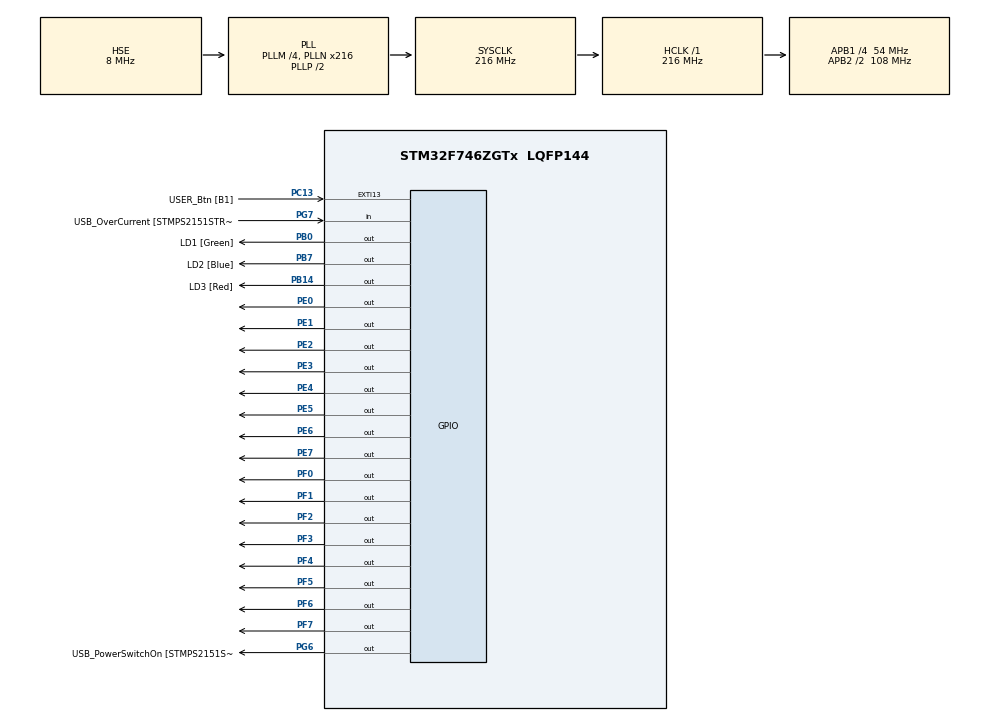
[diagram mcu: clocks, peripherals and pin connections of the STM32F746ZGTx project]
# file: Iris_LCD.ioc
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CORTEX_M7.CPU_DCache=Enabled
CORTEX_M7.CPU_ICache=Enabled
Mcu.Family=STM32F7
Mcu.Name=STM32F746ZGTx
Mcu.Package=LQFP144
NVIC.PriorityGroup=NVIC_PRIORITYGROUP_4
PA1.GPIO_Label=RMII_REF_CLK [LAN8742A-CZ-TR_REFCLK0]
PA1.Signal=ETH_REF_CLK
PA10.GPIO_Label=USB_ID
PA10.Signal=USB_OTG_FS_ID
PA11.GPIO_Label=USB_DM
PA11.Signal=USB_OTG_FS_DM
PA12.GPIO_Label=USB_DP
PA12.Signal=USB_OTG_FS_DP
PA13.GPIO_Label=TMS
PA13.Mode=Trace_Asynchronous_SW
PA13.Signal=SYS_JTMS-SWDIO
PA14.GPIO_Label=TCK
PA14.Mode=Trace_Asynchronous_SW
PA14.Signal=SYS_JTCK-SWCLK
PA2.GPIO_Label=RMII_MDIO [LAN8742A-CZ-TR_MDIO]
PA2.Signal=ETH_MDIO
PA7.GPIO_Label=RMII_CRS_DV [LAN8742A-CZ-TR_CRS_DV]
PA7.Signal=ETH_CRS_DV
PA8.GPIO_Label=USB_SOF [TP1]
PA8.Signal=USB_OTG_FS_SOF
PA9.GPIO_Label=USB_VBUS
PA9.Signal=USB_OTG_FS_VBUS
PB0.GPIO_Label=LD1 [Green]
PB0.Signal=GPIO_Output
PB13.GPIO_Label=RMII_TXD1 [LAN8742A-CZ-TR_TXD1]
PB13.Signal=ETH_TXD1
PB14.GPIO_Label=LD3 [Red]
PB14.Signal=GPIO_Output
PB3.GPIO_Label=SW0
PB3.Mode=Trace_Asynchronous_SW
PB3.Signal=SYS_JTDO-SWO
PB7.GPIO_Label=LD2 [Blue]
PB7.Signal=GPIO_Output
PC1.GPIO_Label=RMII_MDC [LAN8742A-CZ-TR_MDC]
PC1.Signal=ETH_MDC
PC13.GPIO_Label=USER_Btn [B1]
PC13.Signal=GPXTI13
PC14/OSC32_IN.Mode=LSE-External-Oscillator
PC14/OSC32_IN.Signal=RCC_OSC32_IN
PC15/OSC32_OUT.Mode=LSE-External-Oscillator
PC15/OSC32_OUT.Signal=RCC_OSC32_OUT
PC4.GPIO_Label=RMII_RXD0 [LAN8742A-CZ-TR_RXD0]
PC4.Signal=ETH_RXD0
PC5.GPIO_Label=RMII_RXD1 [LAN8742A-CZ-TR_RXD1]
PC5.Signal=ETH_RXD1
PD8.GPIO_Label=STLK_RX [STM32F103CBT6_PA3]
PD8.Signal=USART3_TX
PD9.GPIO_Label=STLK_TX [STM32F103CBT6_PA2]
PD9.Signal=USART3_RX
PE0.GPIO_Speed=GPIO_SPEED_FREQ_VERY_HIGH
PE0.Signal=GPIO_Output
PE1.GPIO_Speed=GPIO_SPEED_FREQ_VERY_HIGH
PE1.Signal=GPIO_Output
PE2.GPIO_Speed=GPIO_SPEED_FREQ_VERY_HIGH
PE2.Signal=GPIO_Output
PE3.GPIO_Speed=GPIO_SPEED_FREQ_VERY_HIGH
PE3.Signal=GPIO_Output
PE4.GPIO_Speed=GPIO_SPEED_FREQ_VERY_HIGH
PE4.Signal=GPIO_Output
PE5.GPIO_Speed=GPIO_SPEED_FREQ_VERY_HIGH
PE5.Signal=GPIO_Output
PE6.GPIO_Speed=GPIO_SPEED_FREQ_VERY_HIGH
PE6.Signal=GPIO_Output
PE7.GPIO_Speed=GPIO_SPEED_FREQ_VERY_HIGH
PE7.Signal=GPIO_Output
PF0.GPIO_Speed=GPIO_SPEED_FREQ_VERY_HIGH
PF0.Signal=GPIO_Output
PF1.GPIO_Speed=GPIO_SPEED_FREQ_VERY_HIGH
PF1.Signal=GPIO_Output
PF2.GPIO_Speed=GPIO_SPEED_FREQ_VERY_HIGH
PF2.Signal=GPIO_Output
PF3.GPIO_Speed=GPIO_SPEED_FREQ_VERY_HIGH
PF3.Signal=GPIO_Output
PF4.GPIO_Speed=GPIO_SPEED_FREQ_VERY_HIGH
PF4.Signal=GPIO_Output
PF5.GPIO_Speed=GPIO_SPEED_FREQ_VERY_HIGH
PF5.Signal=GPIO_Output
PF6.GPIO_Speed=GPIO_SPEED_FREQ_VERY_HIGH
PF6.Signal=GPIO_Output
PF7.GPIO_Speed=GPIO_SPEED_FREQ_VERY_HIGH
PF7.Signal=GPIO_Output
PG11.GPIO_Label=RMII_TX_EN [LAN8742A-CZ-TR_TXEN]
PG11.Signal=ETH_TX_EN
PG13.GPIO_Label=RMII_TXD0 [LAN8742A-CZ-TR_TXD0]
PG13.Signal=ETH_TXD0
PG6.GPIO_Label=USB_PowerSwitchOn [STMPS2151STR_EN]
PG6.Signal=GPIO_Output
PG7.GPIO_Label=USB_OverCurrent [STMPS2151STR_FAULT]
PG7.Signal=GPIO_Input
PH0/OSC_IN.GPIO_Label=MCO [STM32F103CBT6_PA8]
PH0/OSC_IN.Mode=HSE-External-Clock-Source
PH0/OSC_IN.Signal=RCC_OSC_IN
PH1/OSC_OUT.Mode=HSE-External-Clock-Source
PH1/OSC_OUT.Signal=RCC_OSC_OUT
ProjectManager.HeapSize=0x200
ProjectManager.StackSize=0x400
ProjectManager.TargetToolchain=STM32CubeIDE
RCC.48MHZClocksFreq_Value=24000000
RCC.AHBFreq_Value=216000000
RCC.APB1CLKDivider=RCC_HCLK_DIV4
RCC.APB1Freq_Value=54000000
RCC.APB1TimFreq_Value=108000000
RCC.APB2CLKDivider=RCC_HCLK_DIV2
RCC.APB2Freq_Value=108000000
RCC.APB2TimFreq_Value=216000000
RCC.CortexFreq_Value=216000000
RCC.HCLKFreq_Value=216000000
RCC.HSE_VALUE=8000000
RCC.HSI_VALUE=16000000
RCC.PLLM=4
RCC.PLLMUL=RCC_PLL_MUL9
RCC.PLLN=216
RCC.PLLQ=3
RCC.PLLSourceVirtual=RCC_PLLSOURCE_HSE
RCC.PRESCALERUSB=RCC_USBCLKSOURCE_PLL_DIV1_5
RCC.SYSCLKFreq_VALUE=216000000
RCC.SYSCLKSource=RCC_SYSCLKSOURCE_PLLCLK
RCC.SYSCLKSourceVirtual=RCC_SYSCLKSOURCE_PLLCLK
RCC.USBFreq_Value=144000000
RCC.VCOOutputFreq_Value=432000000
board=NUCLEO-F746ZG

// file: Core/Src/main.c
/* USER CODE BEGIN Header */
/**
  ******************************************************************************
  * @file           : main.c
  * @brief          : Main program body
  ******************************************************************************
  * @attention
  *
  * <h2><center>&copy; Copyright (c) 2021 STMicroelectronics.
  * All rights reserved.</center></h2>
  *
  * This software component is licensed by ST under BSD 3-Clause license,
  * the "License"; You may not use this file except in compliance with the
  * License. You may obtain a copy of the License at:
  *                        opensource.org/licenses/BSD-3-Clause
  *
  ******************************************************************************
  */
/* USER CODE END Header */
#include "main.h"

/* USER CODE BEGIN Includes */
#include <stdint.h>
#include <stdlib.h>
#include "Iris_if.h"
#include "Iris_img.h"

/* USER CODE END Includes */

void SystemClock_Config(void);
static void MX_GPIO_Init(void);

/* USER CODE BEGIN 0 */

//x:0-592
//r,g,b: 8bit color
void drawDVD(uint16_t x, uint8_t rgb[3])
{
	  for(uint32_t idy=0; idy<48; idy++){
		  for(uint32_t idx=0; idx<80; idx++){
			  uint32_t cur_x = (idx + x) % IRIS_SIZ_X;
			  uint16_t color = convRGB888toRGB565( (rgb[0] * dvd[idy][idx])>>4, (rgb[1] * dvd[idy][idx])>>4, (rgb[2] * dvd[idy][idx])>>4);
			  irisDrawDot(cur_x, idy, color);
		  }
	  }
}

/* USER CODE END 0 */

int main(void)
{

  /* Enable I-Cache---------------------------------------------------------*/
  SCB_EnableICache();

  /* Enable D-Cache---------------------------------------------------------*/
  SCB_EnableDCache();

  /* MCU Configuration--------------------------------------------------------*/

  /* Reset of all peripherals, Initializes the Flash interface and the Systick. */
  HAL_Init();

  /* Configure the system clock */
  SystemClock_Config();

  /* Initialize all configured peripherals */
  MX_GPIO_Init();
  /* USER CODE BEGIN 2 */

  initIris();

  /* USER CODE END 2 */

  /* Infinite loop */
  while (1)
  {

    /* USER CODE BEGIN 3 */

	  static uint32_t xpos=280;
	  static int8_t speed = 1;
	  static uint8_t col[3] = {0xFF, 0xFF, 0xFF};

	  irisClearDisp();
	  drawDVD(xpos, col);
	  irisUpdate();

	  if(560 > xpos && 0 < xpos){
		  xpos += speed;
	  }else{
		  speed *= (-1);
		  xpos += speed;
		  col[0] = rand()%(256-30) + 30;
		  col[1] = rand()%(256-30) + 30;
		  col[2] = rand()%(256-30) + 30;
	  }
  }
  /* USER CODE END 3 */
}

void SystemClock_Config(void)
{
  RCC_OscInitTypeDef RCC_OscInitStruct = {0};
  RCC_ClkInitTypeDef RCC_ClkInitStruct = {0};

  /** Configure LSE Drive Capability
  */
  HAL_PWR_EnableBkUpAccess();
  /** Configure the main internal regulator output voltage
  */
  __HAL_RCC_PWR_CLK_ENABLE();
  __HAL_PWR_VOLTAGESCALING_CONFIG(PWR_REGULATOR_VOLTAGE_SCALE1);
  /** Initializes the RCC Oscillators according to the specified parameters
  * in the RCC_OscInitTypeDef structure.
  */
  RCC_OscInitStruct.OscillatorType = RCC_OSCILLATORTYPE_HSE;
  RCC_OscInitStruct.HSEState = RCC_HSE_BYPASS;
  RCC_OscInitStruct.PLL.PLLState = RCC_PLL_ON;
  RCC_OscInitStruct.PLL.PLLSource = RCC_PLLSOURCE_HSE;
  RCC_OscInitStruct.PLL.PLLM = 4;
  RCC_OscInitStruct.PLL.PLLN = 216;
  RCC_OscInitStruct.PLL.PLLP = RCC_PLLP_DIV2;
  RCC_OscInitStruct.PLL.PLLQ = 3;
  if (HAL_RCC_OscConfig(&RCC_OscInitStruct) != HAL_OK)
  {
    Error_Handler();
  }
  /** Activate the Over-Drive mode
  */
  if (HAL_PWREx_EnableOverDrive() != HAL_OK)
  {
    Error_Handler();
  }
  /** Initializes the CPU, AHB and APB buses clocks
  */
  RCC_ClkInitStruct.ClockType = RCC_CLOCKTYPE_HCLK|RCC_CLOCKTYPE_SYSCLK
                              |RCC_CLOCKTYPE_PCLK1|RCC_CLOCKTYPE_PCLK2;
  RCC_ClkInitStruct.SYSCLKSource = RCC_SYSCLKSOURCE_PLLCLK;
  RCC_ClkInitStruct.AHBCLKDivider = RCC_SYSCLK_DIV1;
  RCC_ClkInitStruct.APB1CLKDivider = RCC_HCLK_DIV4;
  RCC_ClkInitStruct.APB2CLKDivider = RCC_HCLK_DIV2;

  if (HAL_RCC_ClockConfig(&RCC_ClkInitStruct, FLASH_LATENCY_7) != HAL_OK)
  {
    Error_Handler();
  }
}

static void MX_GPIO_Init(void)
{
  GPIO_InitTypeDef GPIO_InitStruct = {0};

  /* GPIO Ports Clock Enable */
  __HAL_RCC_GPIOE_CLK_ENABLE();
  __HAL_RCC_GPIOC_CLK_ENABLE();
  __HAL_RCC_GPIOF_CLK_ENABLE();
  __HAL_RCC_GPIOH_CLK_ENABLE();
  __HAL_RCC_GPIOA_CLK_ENABLE();
  __HAL_RCC_GPIOB_CLK_ENABLE();
  __HAL_RCC_GPIOD_CLK_ENABLE();
  __HAL_RCC_GPIOG_CLK_ENABLE();

  /*Configure GPIO pin Output Level */
  HAL_GPIO_WritePin(GPIOE, GPIO_PIN_2|GPIO_PIN_3|GPIO_PIN_4|GPIO_PIN_5
                          |GPIO_PIN_6|GPIO_PIN_7|GPIO_PIN_0|GPIO_PIN_1, GPIO_PIN_RESET);

  /*Configure GPIO pin Output Level */
  HAL_GPIO_WritePin(GPIOF, GPIO_PIN_0|GPIO_PIN_1|GPIO_PIN_2|GPIO_PIN_3
                          |GPIO_PIN_4|GPIO_PIN_5|GPIO_PIN_6|GPIO_PIN_7, GPIO_PIN_RESET);

  /*Configure GPIO pin Output Level */
  HAL_GPIO_WritePin(GPIOB, LD1_Pin|LD3_Pin|LD2_Pin, GPIO_PIN_RESET);

  /*Configure GPIO pin Output Level */
  HAL_GPIO_WritePin(USB_PowerSwitchOn_GPIO_Port, USB_PowerSwitchOn_Pin, GPIO_PIN_RESET);

  /*Configure GPIO pins : PE2 PE3 PE4 PE5
                           PE6 PE7 PE0 PE1 */
  GPIO_InitStruct.Pin = GPIO_PIN_2|GPIO_PIN_3|GPIO_PIN_4|GPIO_PIN_5
                          |GPIO_PIN_6|GPIO_PIN_7|GPIO_PIN_0|GPIO_PIN_1;
  GPIO_InitStruct.Mode = GPIO_MODE_OUTPUT_PP;
  GPIO_InitStruct.Pull = GPIO_NOPULL;
  GPIO_InitStruct.Speed = GPIO_SPEED_FREQ_VERY_HIGH;
  HAL_GPIO_Init(GPIOE, &GPIO_InitStruct);

  /*Configure GPIO pin : USER_Btn_Pin */
  GPIO_InitStruct.Pin = USER_Btn_Pin;
  GPIO_InitStruct.Mode = GPIO_MODE_IT_RISING;
  GPIO_InitStruct.Pull = GPIO_NOPULL;
  HAL_GPIO_Init(USER_Btn_GPIO_Port, &GPIO_InitStruct);

  /*Configure GPIO pins : PF0 PF1 PF2 PF3
                           PF4 PF5 PF6 PF7 */
  GPIO_InitStruct.Pin = GPIO_PIN_0|GPIO_PIN_1|GPIO_PIN_2|GPIO_PIN_3
                          |GPIO_PIN_4|GPIO_PIN_5|GPIO_PIN_6|GPIO_PIN_7;
  GPIO_InitStruct.Mode = GPIO_MODE_OUTPUT_PP;
  GPIO_InitStruct.Pull = GPIO_NOPULL;
  GPIO_InitStruct.Speed = GPIO_SPEED_FREQ_VERY_HIGH;
  HAL_GPIO_Init(GPIOF, &GPIO_InitStruct);

  /*Configure GPIO pins : RMII_MDC_Pin RMII_RXD0_Pin RMII_RXD1_Pin */
  GPIO_InitStruct.Pin = RMII_MDC_Pin|RMII_RXD0_Pin|RMII_RXD1_Pin;
  GPIO_InitStruct.Mode = GPIO_MODE_AF_PP;
  GPIO_InitStruct.Pull = GPIO_NOPULL;
  GPIO_InitStruct.Speed = GPIO_SPEED_FREQ_VERY_HIGH;
  GPIO_InitStruct.Alternate = GPIO_AF11_ETH;
  HAL_GPIO_Init(GPIOC, &GPIO_InitStruct);

  /*Configure GPIO pins : RMII_REF_CLK_Pin RMII_MDIO_Pin RMII_CRS_DV_Pin */
  GPIO_InitStruct.Pin = RMII_REF_CLK_Pin|RMII_MDIO_Pin|RMII_CRS_DV_Pin;
  GPIO_InitStruct.Mode = GPIO_MODE_AF_PP;
  GPIO_InitStruct.Pull = GPIO_NOPULL;
  GPIO_InitStruct.Speed = GPIO_SPEED_FREQ_VERY_HIGH;
  GPIO_InitStruct.Alternate = GPIO_AF11_ETH;
  HAL_GPIO_Init(GPIOA, &GPIO_InitStruct);

  /*Configure GPIO pins : LD1_Pin LD3_Pin LD2_Pin */
  GPIO_InitStruct.Pin = LD1_Pin|LD3_Pin|LD2_Pin;
  GPIO_InitStruct.Mode = GPIO_MODE_OUTPUT_PP;
  GPIO_InitStruct.Pull = GPIO_NOPULL;
  GPIO_InitStruct.Speed = GPIO_SPEED_FREQ_LOW;
  HAL_GPIO_Init(GPIOB, &GPIO_InitStruct);

  /*Configure GPIO pin : RMII_TXD1_Pin */
  GPIO_InitStruct.Pin = RMII_TXD1_Pin;
  GPIO_InitStruct.Mode = GPIO_MODE_AF_PP;
  GPIO_InitStruct.Pull = GPIO_NOPULL;
  GPIO_InitStruct.Speed = GPIO_SPEED_FREQ_VERY_HIGH;
  GPIO_InitStruct.Alternate = GPIO_AF11_ETH;
  HAL_GPIO_Init(RMII_TXD1_GPIO_Port, &GPIO_InitStruct);

  /*Configure GPIO pins : STLK_RX_Pin STLK_TX_Pin */
  GPIO_InitStruct.Pin = STLK_RX_Pin|STLK_TX_Pin;
  GPIO_InitStruct.Mode = GPIO_MODE_AF_PP;
  GPIO_InitStruct.Pull = GPIO_NOPULL;
  GPIO_InitStruct.Speed = GPIO_SPEED_FREQ_VERY_HIGH;
  GPIO_InitStruct.Alternate = GPIO_AF7_USART3;
  HAL_GPIO_Init(GPIOD, &GPIO_InitStruct);

  /*Configure GPIO pin : USB_PowerSwitchOn_Pin */
  GPIO_InitStruct.Pin = USB_PowerSwitchOn_Pin;
  GPIO_InitStruct.Mode = GPIO_MODE_OUTPUT_PP;
  GPIO_InitStruct.Pull = GPIO_NOPULL;
  GPIO_InitStruct.Speed = GPIO_SPEED_FREQ_LOW;
  HAL_GPIO_Init(USB_PowerSwitchOn_GPIO_Port, &GPIO_InitStruct);

  /*Configure GPIO pin : USB_OverCurrent_Pin */
  GPIO_InitStruct.Pin = USB_OverCurrent_Pin;
  GPIO_InitStruct.Mode = GPIO_MODE_INPUT;
  GPIO_InitStruct.Pull = GPIO_NOPULL;
  HAL_GPIO_Init(USB_OverCurrent_GPIO_Port, &GPIO_InitStruct);

  /*Configure GPIO pins : USB_SOF_Pin USB_ID_Pin USB_DM_Pin USB_DP_Pin */
  GPIO_InitStruct.Pin = USB_SOF_Pin|USB_ID_Pin|USB_DM_Pin|USB_DP_Pin;
  GPIO_InitStruct.Mode = GPIO_MODE_AF_PP;
  GPIO_InitStruct.Pull = GPIO_NOPULL;
  GPIO_InitStruct.Speed = GPIO_SPEED_FREQ_VERY_HIGH;
  GPIO_InitStruct.Alternate = GPIO_AF10_OTG_FS;
  HAL_GPIO_Init(GPIOA, &GPIO_InitStruct);

  /*Configure GPIO pin : USB_VBUS_Pin */
  GPIO_InitStruct.Pin = USB_VBUS_Pin;
  GPIO_InitStruct.Mode = GPIO_MODE_INPUT;
  GPIO_InitStruct.Pull = GPIO_NOPULL;
  HAL_GPIO_Init(USB_VBUS_GPIO_Port, &GPIO_InitStruct);

  /*Configure GPIO pins : RMII_TX_EN_Pin RMII_TXD0_Pin */
  GPIO_InitStruct.Pin = RMII_TX_EN_Pin|RMII_TXD0_Pin;
  GPIO_InitStruct.Mode = GPIO_MODE_AF_PP;
  GPIO_InitStruct.Pull = GPIO_NOPULL;
  GPIO_InitStruct.Speed = GPIO_SPEED_FREQ_VERY_HIGH;
  GPIO_InitStruct.Alternate = GPIO_AF11_ETH;
  HAL_GPIO_Init(GPIOG, &GPIO_InitStruct);

}

void Error_Handler(void)
{
  __disable_irq();
  while (1)
  {
  }
}

/************************ (C) COPYRIGHT STMicroelectronics *****END OF FILE****/
